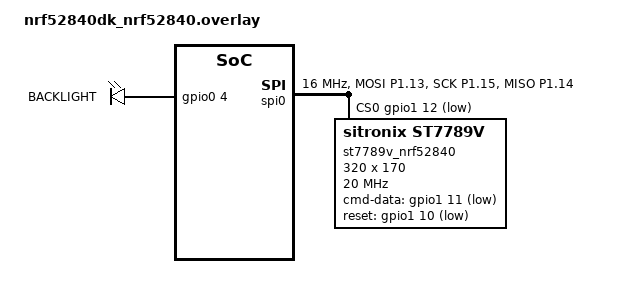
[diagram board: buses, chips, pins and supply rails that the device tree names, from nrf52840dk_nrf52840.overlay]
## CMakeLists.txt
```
# SPDX-License-Identifier: Apache-2.0

cmake_minimum_required(VERSION 3.20.0)

# Suppress "simple_bus_reg" on Pico boards as 
# all GPIO ports use the same register.
list(APPEND EXTRA_DTC_FLAGS "-Wno-simple_bus_reg")

#set(BOARD nrf52840dk_nrf52840)
set(BOARD rpi_pico_w)

find_package(Zephyr)
project(st7789v_alt)

FILE(GLOB app_sources src/*.c)

target_sources(app PRIVATE ${app_sources})

# zephyr_compile_options(-save-temps)
```

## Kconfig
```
# SPDX-License-Identifier: Apache-2.0
# Copyright (c) 2024  Callender Consulting LLC

mainmenu "ST7789V_Alternate options"

menu "Application Options" 

choice
  prompt "Backlight Configuration"
  default BACKLIGHT_FIRMWARE
  help
    Select the method to configure/power the panel's backlight.

  config BACKLIGHT_FIRMWARE
    bool "Firmware"

  config BACKLIGHT_MANUAL
    bool "Manual"
endchoice

endmenu # BACKLIGHT options

# include main Zephyr menu entries from Zephyr root directory
source "Kconfig.zephyr"
```

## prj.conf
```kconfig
#
CONFIG_DEBUG=y
CONFIG_STDOUT_CONSOLE=y

CONFIG_BACKLIGHT_FIRMWARE=y

CONFIG_LV_Z_MEM_POOL_SIZE=16384
CONFIG_MAIN_STACK_SIZE=2048

CONFIG_SPI=y
CONFIG_SPI_LOG_LEVEL_DEFAULT=y

CONFIG_GPIO=y

CONFIG_DISPLAY=y
CONFIG_DISPLAY_LOG_LEVEL_DEFAULT=y

CONFIG_ST7789V_RGB565=y

CONFIG_LVGL=y
CONFIG_LV_MEM_CUSTOM=y
CONFIG_LV_USE_LOG=y
CONFIG_LV_USE_LABEL=y
CONFIG_LV_USE_BTN=y
CONFIG_LV_USE_ARC=y
CONFIG_LV_USE_IMG=y
CONFIG_LV_USE_MONKEY=y
CONFIG_LV_FONT_MONTSERRAT_34=y

CONFIG_LV_FONT_DEFAULT_MONTSERRAT_34=y

#------------------------------------------------
# Logging interface: UART or RTT.
# By default logging will be to UART.
# For RTT logging (JLink or Ozone), uncomment 
# indicated section below.
#
CONFIG_LOG=y
CONFIG_LOG_PRINTK=y
CONFIG_LOG_MODE_IMMEDIATE=y

CONFIG_LOG_BACKEND_SHOW_COLOR=n
CONFIG_LOG_BACKEND_FORMAT_TIMESTAMP=n

# Uncomment this section for RTT support
#CONFIG_USE_SEGGER_RTT=y
#CONFIG_LOG_BACKEND_RTT=y
#CONFIG_LOG_BACKEND_UART=n
```

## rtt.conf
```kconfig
#------------------------------------------------

CONFIG_USE_SEGGER_RTT=y
CONFIG_SEGGER_RTT_MAX_NUM_UP_BUFFERS=5
CONFIG_SEGGER_RTT_MAX_NUM_DOWN_BUFFERS=5
CONFIG_SEGGER_RTT_BUFFER_SIZE_UP=2048
CONFIG_SEGGER_RTT_BUFFER_SIZE_DOWN=16
CONFIG_SEGGER_RTT_PRINTF_BUFFER_SIZE=64
CONFIG_SEGGER_RTT_MODE_NO_BLOCK_SKIP=y

CONFIG_LOG=y
CONFIG_LOG_DEFAULT_LEVEL=3
CONFIG_LOG_OVERRIDE_LEVEL=0
CONFIG_LOG_MAX_LEVEL=4
CONFIG_LOG_FUNC_NAME_PREFIX_DBG=y
CONFIG_LOG_PRINTK=y
CONFIG_LOG_MODE_OVERFLOW=y
CONFIG_LOG_PROCESS_TRIGGER_THRESHOLD=30
CONFIG_LOG_PROCESS_THREAD=y
CONFIG_LOG_PROCESS_THREAD_SLEEP_MS=1000
CONFIG_LOG_PROCESS_THREAD_STACK_SIZE=768
CONFIG_LOG_BUFFER_SIZE=2048
CONFIG_LOG_DOMAIN_ID=0

CONFIG_LOG_BACKEND_RTT=y
CONFIG_LOG_BACKEND_RTT_MODE_DROP=y
CONFIG_LOG_BACKEND_RTT_BUFFER=0
CONFIG_LOG_BACKEND_SHOW_COLOR=y
CONFIG_LOG_BACKEND_RTT_MESSAGE_SIZE=128

CONFIG_LOG_BACKEND_UART=n
CONFIG_LOG_BACKEND_FORMAT_TIMESTAMP=n
CONFIG_LOG_BACKEND_SHOW_COLOR=n
```

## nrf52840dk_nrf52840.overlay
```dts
/*
 *
 * SPDX-License-Identifier: Apache-2.0
 */

&pinctrl {
    spi0_default_alt: spi0_default_alt {
        group1 {
            psels = <NRF_PSEL(SPIM_MOSI,1,13)>,
                    <NRF_PSEL(SPIM_SCK, 1,15)>;
        };
        group2 {
            psels = <NRF_PSEL(SPIM_MISO,1,14)>;
            bias-pull-down;
        };
        
    };
    spi0_sleep_alt: spi0_sleep_alt {
        group1 {
            psels = <NRF_PSEL(SPIM_MOSI,1,13)>,
                    <NRF_PSEL(SPIM_SCK, 1,15)>,
                    <NRF_PSEL(SPIM_MISO,1,14)>;
            low-power-enable;
        };
    };
};

&spi0 {
    compatible = "nordic,nrf-spim";
    status = "okay";
    clock-frequency = <16000000>;
    cs-gpios = <&gpio1 12 GPIO_ACTIVE_LOW>;
    pinctrl-0 = <&spi0_default_alt>;
    pinctrl-1 = <&spi0_sleep_alt>;
    pinctrl-names = "default", "sleep";

    st7789v_nrf52840: st7789v@0 {
        compatible = "sitronix,st7789v";
        spi-max-frequency = <20000000>;
        reg = <0>;
        cmd-data-gpios = <&gpio1 11 GPIO_ACTIVE_LOW>;
        reset-gpios    = <&gpio1 10 GPIO_ACTIVE_LOW>;
        width  = <320>;
        height = <170>;
        x-offset = <0>;
        y-offset = <35>;
        vcom = <0x2B>;
        gctrl = <0x35>;
        vrhs = <0x0F>;
        vdvs = <0x20>;
        mdac = <0x60>;
        gamma = <0x01>;
        colmod = <0x55>;
        lcm = <0x2C>;
        porch-param = [0C 0C 00 33 33];
        cmd2en-param = [5A 69 02 01];
        pwctrl1-param = [52 A1];
        pvgam-param = [D0 00 02 07 0B 1A 31 54 40 29 12 12 12 17];
        nvgam-param = [D0 00 02 07 05 15 2D 44 44 1C 18 16 1C 1D];
        ram-param = [00 F8];
        rgb-param = [CD 08 14];
    };
};

&gpio1 {
    status = "okay";
};

/ {

    chosen {
        zephyr,display = &st7789v_nrf52840;
    };

    backlight {
        compatible = "gpio-leds";
        backlight0: backlight_0 {
            gpios = <&gpio0 4 GPIO_ACTIVE_HIGH>;
            label = "BACKLIGHT";
        };
    };

    aliases {
        backlight = &backlight0;
    };    
};
```

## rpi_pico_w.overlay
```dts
/*
 *
 * SPDX-License-Identifier: Apache-2.0
 */

&pinctrl {
    spi0_default: spi0_default {
        group1 {
            pinmux = <SPI0_CSN_P1>, // pin 2, GP1
                     <SPI0_SCK_P2>, // pin 4. GP2
                     <SPI0_TX_P3>;  // pin 5. GP3
        };
        group2 {
            pinmux = <SPI0_RX_P0>;  // pin 1, GP0 (not used)
            input-enable;
        };
    };

    uart0_default: uart0_default {
        group1 {
            pinmux = <UART0_TX_P12>;  // pin 16, GP12
        };
        group2 {
            pinmux = <UART0_RX_P13>;  // pin 17, GP13
            input-enable;
        };
    };
};

&spi0 {
    status = "okay";
    clock-frequency = <DT_FREQ_M(8)>;
    status = "okay";
    pinctrl-0 = <&spi0_default>;
    pinctrl-names = "default";

    st7789v_pico_w: st7789v@0 {
        compatible = "sitronix,st7789v";
        spi-max-frequency = <8000000>;
        reg = <0>;
        cmd-data-gpios = <&gpio0 5 GPIO_ACTIVE_LOW>; // pin 7, GP5
        reset-gpios    = <&gpio0 4 GPIO_ACTIVE_LOW>; // pin 6, GP4
        width  = <320>;
        height = <170>;
        x-offset = <0>;
        y-offset = <35>;
        vcom = <0x2B>;
        gctrl = <0x35>;
        vrhs = <0x0F>;
        vdvs = <0x20>;
        mdac = <0x60>;
        gamma = <0x01>;
        colmod = <0x55>;
        lcm = <0x2C>;
        porch-param = [0C 0C 00 33 33];
        cmd2en-param = [5A 69 02 01];
        pwctrl1-param = [52 A1];
        pvgam-param = [D0 00 02 07 0B 1A 31 54 40 29 12 12 12 17];
        nvgam-param = [D0 00 02 07 05 15 2D 44 44 1C 18 16 1C 1D];
        ram-param = [00 F8];
        rgb-param = [CD 08 14];
    };
};

&uart0 {
    current-speed = <115200>;
    status = "okay";
    pinctrl-0 = <&uart0_default>;
    pinctrl-names = "default";
};

&gpio0 {
    status = "okay";
};

/ {

    chosen {
        zephyr,display = &st7789v_pico_w;
    };

    backlight {
        compatible = "gpio-leds";
        backlight0: backlight_0 {
            gpios = <&gpio0 6 GPIO_ACTIVE_HIGH>; // pin9, GP6
            label = "BACKLIGHT";
        };
    };

    aliases {
        backlight = &backlight0;
    };
};
```

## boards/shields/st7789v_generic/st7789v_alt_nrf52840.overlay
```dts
/*
 * Copyright (c) 2019 Jan Van Winkel <jan.van_winkel@dxplore.eu>
 * Copyright (c) 2024 Callender-Consulting LLC
 *
 * SPDX-License-Identifier: Apache-2.0
 */

/ {
	chosen {
		zephyr,display = &st7789v_alt_nrf52840;
	};
};

&spi0 {
	status = "okay";

	st7789v_alt_nrf52840: st7789v@0 {
		compatible = "sitronix,st7789v";
		spi-max-frequency = <20000000>;
		reg = <0>;
		cmd-data-gpios = <&gpio1 11 GPIO_ACTIVE_LOW>;
		reset-gpios    = <&gpio1 10 GPIO_ACTIVE_LOW>;
		width  = <320>;
		height = <170>;
		x-offset = <0>;
		y-offset = <35>;
		vcom = <0x2B>;
		gctrl = <0x35>;
		vrhs = <0x0F>;
		vdvs = <0x20>;
		mdac = <0x60>;
		gamma = <0x01>;
		colmod = <0x55>;
		lcm = <0x2C>;
		porch-param = [0C 0C 00 33 33];
		cmd2en-param = [5A 69 02 01];
		pwctrl1-param = [52 A1];
		pvgam-param = [D0 00 02 07 0B 1A 31 54 40 29 12 12 12 17];
		nvgam-param = [D0 00 02 07 05 15 2D 44 44 1C 18 16 1C 1D];
		ram-param = [00 F8];
		rgb-param = [CD 08 14];
	};
};
```

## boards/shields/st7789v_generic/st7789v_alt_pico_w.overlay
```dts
/*
 * Copyright (c) 2019 Jan Van Winkel <jan.van_winkel@dxplore.eu>
 * Copyright (c) 2024 Callender-Consulting LLC
 *
 * SPDX-License-Identifier: Apache-2.0
 */

/ {
    chosen {
        zephyr,display = &st7789v_alt_pico_w;
    };
};

&spi0 {
    status = "okay";

    st7789v_alt_pico_w: st7789v@0 {
        compatible = "sitronix,st7789v";
        spi-max-frequency = <20000000>;
        reg = <0>;
        cmd-data-gpios = <&gpio0 5 GPIO_ACTIVE_LOW>; // pin 7, GP5
        reset-gpios    = <&gpio0 4 GPIO_ACTIVE_LOW>; // pin 6, GP4
        width  = <320>;
        height = <170>;
        x-offset = <0>;
        y-offset = <35>;
        vcom = <0x2B>;
        gctrl = <0x35>;
        vrhs = <0x0F>;
        vdvs = <0x20>;
        mdac = <0x60>;
        gamma = <0x01>;
        colmod = <0x55>;
        lcm = <0x2C>;
        porch-param = [0C 0C 00 33 33];
        cmd2en-param = [5A 69 02 01];
        pwctrl1-param = [52 A1];
        pvgam-param = [D0 00 02 07 0B 1A 31 54 40 29 12 12 12 17];
        nvgam-param = [D0 00 02 07 05 15 2D 44 44 1C 18 16 1C 1D];
        ram-param = [00 F8];
        rgb-param = [CD 08 14];
    };
};
```

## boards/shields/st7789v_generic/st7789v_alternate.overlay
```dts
/*
 * Copyright (c) 2019 Jan Van Winkel <jan.van_winkel@dxplore.eu>
 * Copyright (c) 2024 Callender-Consulting LLC
 *
 * SPDX-License-Identifier: Apache-2.0
 */

/ {
	chosen {
		zephyr,display = &st7789v_alternate;
	};
};

&spi0 {
	status = "okay";

	st7789v_alternate: st7789v@0 {
		compatible = "sitronix,st7789v";
		spi-max-frequency = <20000000>;
		reg = <0>;
		cmd-data-gpios = <&gpio1 11 GPIO_ACTIVE_LOW>;
		reset-gpios    = <&gpio1 10 GPIO_ACTIVE_LOW>;
		width  = <320>;
		height = <170>;
		x-offset = <0>;
		y-offset = <35>;
		vcom = <0x2B>;
		gctrl = <0x35>;
		vrhs = <0x0F>;
		vdvs = <0x20>;
		mdac = <0x60>;
		gamma = <0x01>;
		colmod = <0x55>;
		lcm = <0x2C>;
		porch-param = [0C 0C 00 33 33];
		cmd2en-param = [5A 69 02 01];
		pwctrl1-param = [52 A1];
		pvgam-param = [D0 00 02 07 0B 1A 31 54 40 29 12 12 12 17];
		nvgam-param = [D0 00 02 07 05 15 2D 44 44 1C 18 16 1C 1D];
		ram-param = [00 F8];
		rgb-param = [CD 08 14];
	};
};
```

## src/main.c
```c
/*
 * Copyright (c) 2018 Jan Van Winkel <jan.van_winkel@dxplore.eu>
 *
 * SPDX-License-Identifier: Apache-2.0
 */

#include <zephyr/device.h>
#include <zephyr/devicetree.h>
#include <zephyr/drivers/display.h>
#include <zephyr/drivers/gpio.h>
#include <lvgl.h>
#include <stdio.h>
#include <string.h>
#include <zephyr/kernel.h>
#include <lvgl_input_device.h>

#define LOG_LEVEL CONFIG_LOG_DEFAULT_LEVEL
#include <zephyr/logging/log.h>
LOG_MODULE_REGISTER(app);

static uint32_t count;

#ifdef CONFIG_GPIO
static struct gpio_dt_spec button_gpio = 
        GPIO_DT_SPEC_GET_OR(DT_ALIAS(sw0), gpios, {0});
static struct gpio_callback button_callback;

static void button_isr_callback(const struct device *port,
                struct gpio_callback *cb,
                uint32_t pins)
{
    ARG_UNUSED(port);
    ARG_UNUSED(cb);
    ARG_UNUSED(pins);

    count = 0;
}
#endif /* CONFIG_GPIO */

#ifdef CONFIG_LV_Z_ENCODER_INPUT
static const struct device *lvgl_encoder =
    DEVICE_DT_GET(DT_COMPAT_GET_ANY_STATUS_OKAY(zephyr_lvgl_encoder_input));
#endif /* CONFIG_LV_Z_ENCODER_INPUT */

static void lv_btn_click_callback(lv_event_t *e)
{
    ARG_UNUSED(e);

    count = 0;
}

static int set_backlight_on(void)
{
#if defined(CONFIG_BACKLIGHT_FIRMWARE)
 
    #define BACKLIGHT_GPIO_DEV  DT_PHANDLE_BY_IDX(DT_ALIAS(backlight), gpios, 0)
    #define BACKLIGHT_PIN       DT_GPIO_PIN(DT_ALIAS(backlight), gpios)
    #define BACKLIGHT_FLAGS     DT_GPIO_FLAGS(DT_ALIAS(backlight), gpios)

    static const struct device * gpio;

    LOG_INF("Backlight firmware configured");

    gpio = DEVICE_DT_GET(BACKLIGHT_GPIO_DEV);
    if (!gpio) {
        return -1;
    }

    gpio_pin_configure(gpio, BACKLIGHT_PIN, GPIO_OUTPUT);
    gpio_pin_set(gpio, BACKLIGHT_PIN, 1);

    return 0;

#elif defined(CONFIG_BACKLIGHT_MANUAL)

    LOG_INF("Backlight manually configured");
    return 0;

#else

    LOG_ERR("Set Backlight configuration method");
    return 0     

#endif
}

int main(void)
{
    char count_str[11] = {0};
    const struct device *display_dev;
    lv_obj_t *hello_world_label;
    lv_obj_t *count_label;

    LOG_INF("main: start"); 

    display_dev = DEVICE_DT_GET(DT_CHOSEN(zephyr_display));
    if (!device_is_ready(display_dev)) {
        LOG_ERR("Device not ready, aborting");
        return 0;
    }

    if (set_backlight_on() < 0) {
        LOG_ERR("Backlight failure: aborting");
        return 0;
    }

#ifdef CONFIG_GPIO
    if (gpio_is_ready_dt(&button_gpio)) {
        int err;

        err = gpio_pin_configure_dt(&button_gpio, GPIO_INPUT);
        if (err) {
            LOG_ERR("failed to configure button gpio: %d", err);
            return 0;
        }

        gpio_init_callback(&button_callback, button_isr_callback,
                   BIT(button_gpio.pin));

        err = gpio_add_callback(button_gpio.port, &button_callback);
        if (err) {
            LOG_ERR("failed to add button callback: %d", err);
            return 0;
        }

        err = gpio_pin_interrupt_configure_dt(&button_gpio,
                              GPIO_INT_EDGE_TO_ACTIVE);
        if (err) {
            LOG_ERR("failed to enable button callback: %d", err);
            return 0;
        }
    }
#endif /* CONFIG_GPIO */

#ifdef CONFIG_LV_Z_ENCODER_INPUT
    lv_obj_t *arc;
    lv_group_t *arc_group;

    arc = lv_arc_create(lv_scr_act());
    lv_obj_align(arc, LV_ALIGN_CENTER, 0, 0);
    lv_obj_set_size(arc, 150, 150);

    arc_group = lv_group_create();
    lv_group_add_obj(arc_group, arc);
    lv_indev_set_group(lvgl_input_get_indev(lvgl_encoder), arc_group);
#endif /* CONFIG_LV_Z_ENCODER_INPUT */

    if (IS_ENABLED(CONFIG_LV_Z_POINTER_KSCAN) || IS_ENABLED(CONFIG_LV_Z_POINTER_INPUT)) {
        lv_obj_t *hello_world_button;

        hello_world_button = lv_btn_create(lv_scr_act());
        lv_obj_align(hello_world_button, LV_ALIGN_CENTER, 0, 0);
        lv_obj_add_event_cb(hello_world_button, lv_btn_click_callback, LV_EVENT_CLICKED,
                        NULL);
        hello_world_label = lv_label_create(hello_world_button);
    } else {
        hello_world_label = lv_label_create(lv_scr_act());
    }

    lv_label_set_text(hello_world_label, "Hello world!");
    lv_obj_align(hello_world_label, LV_ALIGN_CENTER, 0, 0);

    count_label = lv_label_create(lv_scr_act());
    lv_obj_align(count_label, LV_ALIGN_BOTTOM_MID, 0, 0);

    lv_task_handler();
    display_blanking_off(display_dev);

    while (1) {
        if ((count % 100) == 0U) {
            sprintf(count_str, "%d", count/100U);
            lv_label_set_text(count_label, count_str);
        }
        lv_task_handler();
        ++count;
        k_sleep(K_MSEC(10));
    }
}
```
